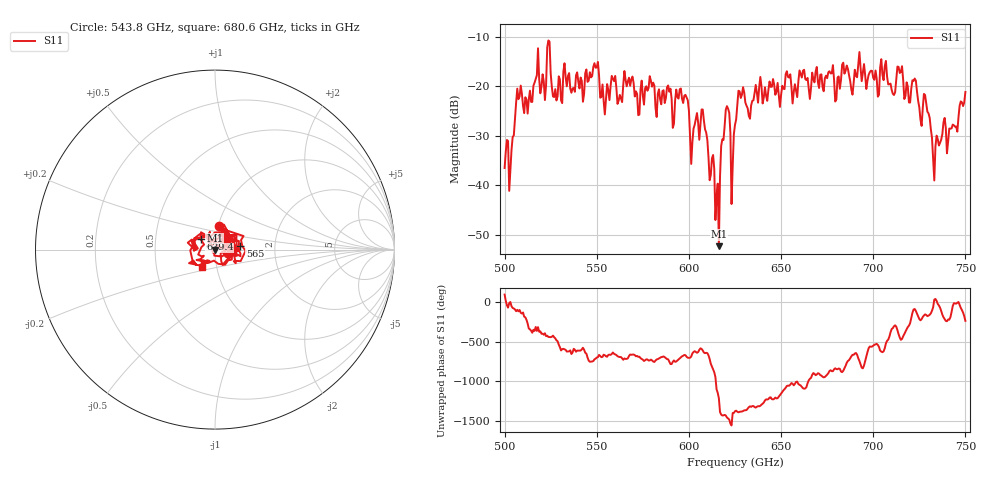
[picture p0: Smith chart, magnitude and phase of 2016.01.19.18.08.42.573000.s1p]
!Created with skrf (http://scikit-rf.org).
# GHz S RI R 50.0
!freq ReS11 ImS11
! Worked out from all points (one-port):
!   401 points, 500 GHz to 750 GHz, reference 50 ohm
!   lowest |S11| = -52.3 dB at 616.2 GHz (marker M1), VSWR 1.00, Z = 49.8 - j0.166 ohm
!   |S11| at or under -10 dB: start of sweep to end of sweep
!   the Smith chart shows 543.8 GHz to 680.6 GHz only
!   S11 on the Smith chart (normalised r, x): 543.8 GHz: 1.01, +0.27; 565 GHz: 1.33, +0.06; 639.4 GHz: 0.85, +0.10; 680.6 GHz: 0.85, -0.17
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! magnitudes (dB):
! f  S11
! 500 GHz  -36.5
! 503.8 GHz  -32.9
! 508.1 GHz  -22.1
! 523.8 GHz  -10.8
! 526.9 GHz  -22.2
! 531.2 GHz  -23.4
! 543.8 GHz  -17.4
! 549.4 GHz  -16.3
! 553.1 GHz  -19.7
! 562.5 GHz  -21.8
! 565 GHz  -16.9
! 593.8 GHz  -22.2
! 601.9 GHz  -31.3
! 608.1 GHz  -26.9
! 615 GHz  -42.2
! 616.2 GHz  -52.3
! 620.6 GHz  -24.0
! 623.1 GHz  -43.8
! 625 GHz  -27.8
! 628.1 GHz  -22.4
! 639.4 GHz  -20.1
! 656.2 GHz  -23.5
! 680.6 GHz  -18.3
! 687.5 GHz  -19.0
! 718.8 GHz  -20.0
! 728.8 GHz  -23.5
! 733.8 GHz  -32.2
! 750 GHz  -21.2
